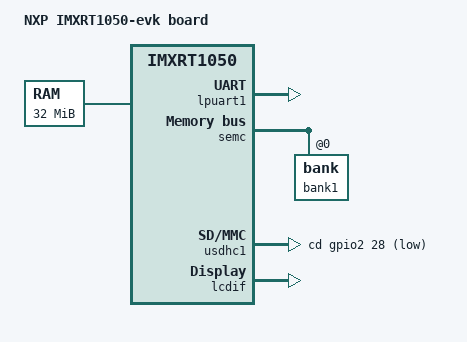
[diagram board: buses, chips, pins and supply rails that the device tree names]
// SPDX-License-Identifier: (GPL-2.0+ OR BSD-3-Clause)
/*
 * Copyright (C) 2019
 * Author(s): Giulio Benetti <giulio.benetti@benettiengineering.com>
 */

/dts-v1/;
#include "imxrt1050.dtsi"
#include "imxrt1050-evk-u-boot.dtsi"
#include <dt-bindings/pinctrl/pins-imxrt1050.h>

/ {
	model = "NXP IMXRT1050-evk board";
	compatible = "fsl,imxrt1050-evk", "fsl,imxrt1050";

	chosen {
		bootargs = "root=/dev/ram";
		stdout-path = "serial0:115200n8";
	};

	memory {
		reg = <0x80000000 0x2000000>;
	};
};

&lpuart1 { /* console */
	pinctrl-names = "default";
	pinctrl-0 = <&pinctrl_lpuart1>;
	status = "okay";
};

&semc {
	/*
	 * Memory configuration from sdram datasheet IS42S16160J-6BLI
	 */
	fsl,sdram-mux = /bits/ 8 <MUX_A8_SDRAM_A8
				MUX_CSX0_SDRAM_CS1
				0
				0
				0
				0>;
	fsl,sdram-control = /bits/ 8 <MEM_WIDTH_16BITS
					BL_8
					COL_9BITS
					CL_3>;
	fsl,sdram-timing = /bits/ 8 <0x2
				     0x2
				     0x9
				     0x1
				     0x5
				     0x6

				     0x20
				     0x09
				     0x01
				     0x00

				     0x04
				     0x0A
				     0x21
				     0x50>;

	bank1: bank@0 {
		fsl,base-address = <0x80000000>;
		fsl,memory-size = <MEM_SIZE_32M>;
	};
};

&iomuxc {
	pinctrl-names = "default";
	pinctrl-0 = <&pinctrl_lpuart1>;

	imxrt1050-evk {
		pinctrl_lpuart1: lpuart1grp {
			fsl,pins = <
				MXRT1050_IOMUXC_GPIO_AD_B0_12_LPUART1_TXD
					0xf1
				MXRT1050_IOMUXC_GPIO_AD_B0_13_LPUART1_RXD
					0xf1
			>;
		};

		pinctrl_semc: semcgrp {
			fsl,pins = <
				MXRT1050_IOMUXC_GPIO_EMC_00_SEMC_DA00
					0xf1	/* SEMC_D0 */
				MXRT1050_IOMUXC_GPIO_EMC_01_SEMC_DA01
					0xf1	/* SEMC_D1 */
				MXRT1050_IOMUXC_GPIO_EMC_02_SEMC_DA02
					0xf1	/* SEMC_D2 */
				MXRT1050_IOMUXC_GPIO_EMC_03_SEMC_DA03
					0xf1	/* SEMC_D3 */
				MXRT1050_IOMUXC_GPIO_EMC_04_SEMC_DA04
					0xf1	/* SEMC_D4 */
				MXRT1050_IOMUXC_GPIO_EMC_05_SEMC_DA05
					0xf1	/* SEMC_D5 */
				MXRT1050_IOMUXC_GPIO_EMC_06_SEMC_DA06
					0xf1	/* SEMC_D6 */
				MXRT1050_IOMUXC_GPIO_EMC_07_SEMC_DA07
					0xf1	/* SEMC_D7 */
				MXRT1050_IOMUXC_GPIO_EMC_08_SEMC_DM00
					0xf1	/* SEMC_DM0 */
				MXRT1050_IOMUXC_GPIO_EMC_09_SEMC_ADDR00
					0xf1	/* SEMC_A0 */
				MXRT1050_IOMUXC_GPIO_EMC_10_SEMC_ADDR01
					0xf1	/* SEMC_A1 */
				MXRT1050_IOMUXC_GPIO_EMC_11_SEMC_ADDR02
					0xf1	/* SEMC_A2 */
				MXRT1050_IOMUXC_GPIO_EMC_12_SEMC_ADDR03
					0xf1	/* SEMC_A3 */
				MXRT1050_IOMUXC_GPIO_EMC_13_SEMC_ADDR04
					0xf1	/* SEMC_A4 */
				MXRT1050_IOMUXC_GPIO_EMC_14_SEMC_ADDR05
					0xf1	/* SEMC_A5 */
				MXRT1050_IOMUXC_GPIO_EMC_15_SEMC_ADDR06
					0xf1	/* SEMC_A6 */
				MXRT1050_IOMUXC_GPIO_EMC_16_SEMC_ADDR07
					0xf1	/* SEMC_A7 */
				MXRT1050_IOMUXC_GPIO_EMC_17_SEMC_ADDR08
					0xf1	/* SEMC_A8 */
				MXRT1050_IOMUXC_GPIO_EMC_18_SEMC_ADDR09
					0xf1	/* SEMC_A9 */
				MXRT1050_IOMUXC_GPIO_EMC_19_SEMC_ADDR11
					0xf1	/* SEMC_A11 */
				MXRT1050_IOMUXC_GPIO_EMC_20_SEMC_ADDR12
					0xf1	/* SEMC_A12 */
				MXRT1050_IOMUXC_GPIO_EMC_21_SEMC_BA0
					0xf1	/* SEMC_BA0 */
				MXRT1050_IOMUXC_GPIO_EMC_22_SEMC_BA1
					0xf1	/* SEMC_BA1 */
				MXRT1050_IOMUXC_GPIO_EMC_23_SEMC_ADDR10
					0xf1	/* SEMC_A10 */
				MXRT1050_IOMUXC_GPIO_EMC_24_SEMC_CAS
					0xf1	/* SEMC_CAS */
				MXRT1050_IOMUXC_GPIO_EMC_25_SEMC_RAS
					0xf1	/* SEMC_RAS */
				MXRT1050_IOMUXC_GPIO_EMC_26_SEMC_CLK
					0xf1	/* SEMC_CLK */
				MXRT1050_IOMUXC_GPIO_EMC_27_SEMC_CKE
					0xf1	/* SEMC_CKE */
				MXRT1050_IOMUXC_GPIO_EMC_28_SEMC_WE
					0xf1	/* SEMC_WE */
				MXRT1050_IOMUXC_GPIO_EMC_29_SEMC_CS0
					0xf1	/* SEMC_CS0 */
				MXRT1050_IOMUXC_GPIO_EMC_30_SEMC_DA08
					0xf1	/* SEMC_D8 */
				MXRT1050_IOMUXC_GPIO_EMC_31_SEMC_DA09
					0xf1	/* SEMC_D9 */
				MXRT1050_IOMUXC_GPIO_EMC_32_SEMC_DA10
					0xf1	/* SEMC_D10 */
				MXRT1050_IOMUXC_GPIO_EMC_33_SEMC_DA11
					0xf1	/* SEMC_D11 */
				MXRT1050_IOMUXC_GPIO_EMC_34_SEMC_DA12
					0xf1	/* SEMC_D12 */
				MXRT1050_IOMUXC_GPIO_EMC_35_SEMC_DA13
					0xf1	/* SEMC_D13 */
				MXRT1050_IOMUXC_GPIO_EMC_36_SEMC_DA14
					0xf1	/* SEMC_D14 */
				MXRT1050_IOMUXC_GPIO_EMC_37_SEMC_DA15
					0xf1	/* SEMC_D15 */
				MXRT1050_IOMUXC_GPIO_EMC_38_SEMC_DM01
					0xf1	/* SEMC_DM1 */
				MXRT1050_IOMUXC_GPIO_EMC_39_SEMC_DQS
					(IMX_PAD_SION | 0xf1)	/* SEMC_DQS */
			>;
		};

		pinctrl_usdhc0: usdhc0grp {
			fsl,pins = <
				MXRT1050_IOMUXC_GPIO_B1_12_USDHC1_CD_B
					0x1B000
				MXRT1050_IOMUXC_GPIO_B1_14_USDHC1_VSELECT
					0xB069
				MXRT1050_IOMUXC_GPIO_SD_B0_00_USDHC1_CMD
					0x17061
				MXRT1050_IOMUXC_GPIO_SD_B0_01_USDHC1_CLK
					0x17061
				MXRT1050_IOMUXC_GPIO_SD_B0_05_USDHC1_DATA3
					0x17061
				MXRT1050_IOMUXC_GPIO_SD_B0_04_USDHC1_DATA2
					0x17061
				MXRT1050_IOMUXC_GPIO_SD_B0_03_USDHC1_DATA1
					0x17061
				MXRT1050_IOMUXC_GPIO_SD_B0_02_USDHC1_DATA0
					0x17061
			>;
		};

		pinctrl_lcdif: lcdifgrp {
			u-boot,dm-spl;
			fsl,pins = <
				MXRT1050_IOMUXC_GPIO_B0_00_LCD_CLK		0x1b0b1
				MXRT1050_IOMUXC_GPIO_B0_01_LCD_ENABLE		0x1b0b1
				MXRT1050_IOMUXC_GPIO_B0_02_LCD_HSYNC		0x1b0b1
				MXRT1050_IOMUXC_GPIO_B0_03_LCD_VSYNC		0x1b0b1
				MXRT1050_IOMUXC_GPIO_B0_04_LCD_DATA00		0x1b0b1
				MXRT1050_IOMUXC_GPIO_B0_05_LCD_DATA01		0x1b0b1
				MXRT1050_IOMUXC_GPIO_B0_06_LCD_DATA02		0x1b0b1
				MXRT1050_IOMUXC_GPIO_B0_07_LCD_DATA03		0x1b0b1
				MXRT1050_IOMUXC_GPIO_B0_08_LCD_DATA04		0x1b0b1
				MXRT1050_IOMUXC_GPIO_B0_09_LCD_DATA05		0x1b0b1
				MXRT1050_IOMUXC_GPIO_B0_10_LCD_DATA06		0x1b0b1
				MXRT1050_IOMUXC_GPIO_B0_11_LCD_DATA07		0x1b0b1
				MXRT1050_IOMUXC_GPIO_B0_12_LCD_DATA08		0x1b0b1
				MXRT1050_IOMUXC_GPIO_B0_13_LCD_DATA09		0x1b0b1
				MXRT1050_IOMUXC_GPIO_B0_14_LCD_DATA10		0x1b0b1
				MXRT1050_IOMUXC_GPIO_B0_15_LCD_DATA11		0x1b0b1
				MXRT1050_IOMUXC_GPIO_B1_01_LCD_DATA13		0x1b0b1
				MXRT1050_IOMUXC_GPIO_B1_02_LCD_DATA14		0x1b0b1
				MXRT1050_IOMUXC_GPIO_B1_03_LCD_DATA15		0x1b0b1
				MXRT1050_IOMUXC_GPIO_B1_15_GPIO2_IO31		0x0b069
				MXRT1050_IOMUXC_GPIO_AD_B0_02_GPIO1_IO02	0x0b069
			>;
		};
	};
};

&usdhc1 {
	pinctrl-names = "default", "state_100mhz", "state_200mhz", "sleep";
	pinctrl-0 = <&pinctrl_usdhc0>;
	pinctrl-1 = <&pinctrl_usdhc0>;
	pinctrl-2 = <&pinctrl_usdhc0>;
	pinctrl-3 = <&pinctrl_usdhc0>;
	status = "okay";

	cd-gpios = <&gpio2 28 GPIO_ACTIVE_LOW>;
};

&lcdif {
	pinctrl-names = "default";
	pinctrl-0 = <&pinctrl_lcdif>;
	display = <&display0>;
	status = "okay";

	assigned-clocks = <&clks IMXRT1050_CLK_LCDIF_SEL>;
	assigned-clock-parents = <&clks IMXRT1050_CLK_PLL5_VIDEO>;

	display0: display0 {
		bits-per-pixel = <16>;
		bus-width = <16>;

		display-timings {
			timing0: timing0 {
				clock-frequency = <9300000>;
				hactive = <480>;
				vactive = <272>;
				hback-porch = <4>;
				hfront-porch = <8>;
				vback-porch = <4>;
				vfront-porch = <8>;
				hsync-len = <41>;
				vsync-len = <10>;
				de-active = <1>;
				pixelclk-active = <0>;
				hsync-active = <0>;
				vsync-active = <0>;
			};
		};
	};
};
